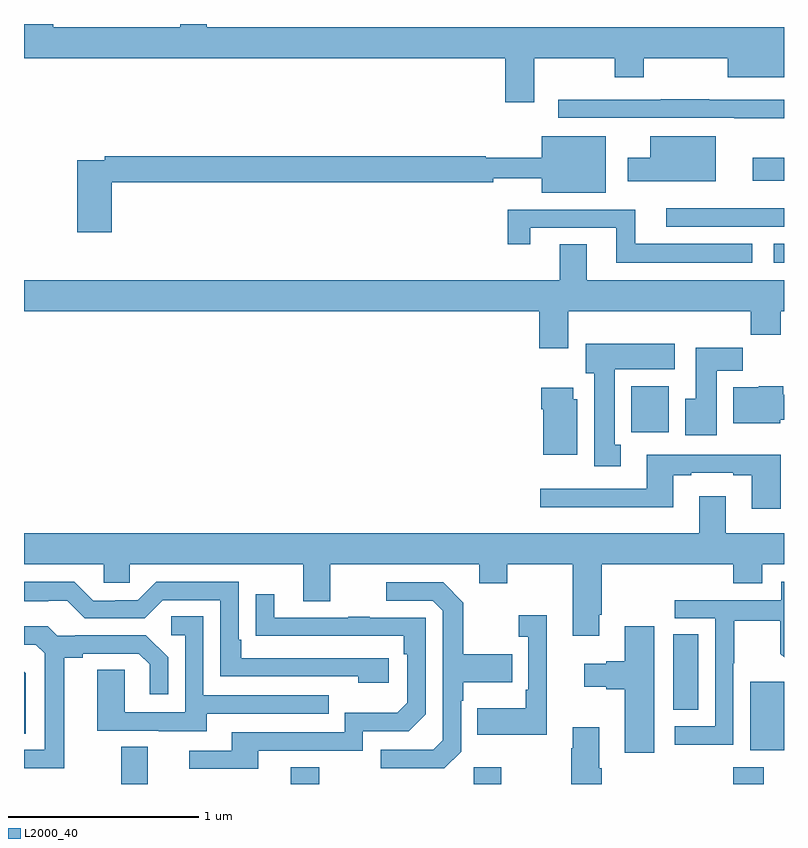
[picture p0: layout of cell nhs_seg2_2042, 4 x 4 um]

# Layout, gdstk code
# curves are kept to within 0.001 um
import gdstk
lib = gdstk.Library(unit=1e-6, precision=1e-09)
def R(c, l, rs):  # rectangles x0, y0, x1, y1
    for r in rs: c.add(gdstk.rectangle(r[:2], r[2:], *l))
def P(c, l, *ps):  # polygons
    for p in ps: c.add(gdstk.Polygon(p, *l))
L2000_40 = (2000, 40)

nhs_seg2_2042 = lib.new_cell('nhs_seg2_2042')
R(nhs_seg2_2042, L2000_40, [(217.511,659.8,217.651,659.996), (218.405,659.8,218.553,659.887), (219.366,659.8,219.513,659.887), (220.733,659.8,220.893,659.887), (220.823,659.978,221,660.339), (220.418,660.19,220.549,660.587), (220.196,661.652,220.393,661.894), (220.947,662.543,221,662.644), (220.38,662.733,221,662.83), (220.836,662.975,221,663.097)])
P(nhs_seg2_2042, L2000_40, [(219.685,663.62),(220.108,663.62),(220.108,663.521),(220.263,663.521),(220.263,663.62),(220.703,663.62),(220.703,663.521),(221,663.521),(221,663.784),(217.963,663.784),(217.963,663.8),(217.823,663.8),(217.823,663.784),(217.154,663.784),(217.154,663.8),(217.001,663.8),(217.001,663.784),(217,663.784),(217,663.62),(219.533,663.62),(219.533,663.387),(219.685,663.387)],
  [(221,663.402),(220.607,663.402),(220.607,663.404),(220.351,663.404),(220.351,663.402),(219.813,663.402),(219.813,663.306),(220.738,663.306),(220.738,663.305),(221,663.305)],
  [(217.463,662.968),(219.47,662.968),(219.47,662.987),(219.725,662.987),(219.725,662.912),(220.063,662.912),(220.063,663.208),(219.725,663.208),(219.725,663.097),(219.429,663.097),(219.429,663.104),(217.426,663.104),(217.426,663.084),(217.28,663.084),(217.28,662.703),(217.463,662.703)],
  [(220.642,663.208),(220.295,663.208),(220.295,663.097),(220.178,663.097),(220.178,662.972),(220.642,662.972)],
  [(220.834,662.644),(220.216,662.644),(220.216,662.823),(219.547,662.823),(219.547,662.64),(219.664,662.64),(219.664,662.727),(220.118,662.727),(220.118,662.543),(220.834,662.543)],
  [(219.865,662.288),(220.825,662.288),(220.825,662.164),(220.982,662.164),(220.982,662.288),(221,662.288),(221,662.452),(219.961,662.452),(219.961,662.642),(219.821,662.642),(219.821,662.452),(217,662.452),(217,662.288),(219.713,662.288),(219.713,662.094),(219.865,662.094)],
  [(220.141,661.586),(220.108,661.586),(220.108,661.982),(220.426,661.982),(220.426,662.116),(219.956,662.116),(219.956,661.962),(220.001,661.962),(220.001,661.473),(220.141,661.473)],
  [(220.645,661.976),(220.784,661.976),(220.784,662.095),(220.535,662.095),(220.535,661.828),(220.481,661.828),(220.481,661.635),(220.645,661.635)],
  [(220.98,661.718),(221,661.718),(221,661.848),(220.997,661.848),(220.997,661.894),(220.866,661.894),(220.866,661.888),(220.733,661.888),(220.733,661.7),(220.98,661.7)],
  [(219.913,661.824),(219.892,661.824),(219.892,661.885),(219.722,661.885),(219.722,661.772),(219.734,661.772),(219.734,661.532),(219.913,661.532)],
  [(220.982,661.534),(220.741,661.534),(220.741,661.533),(220.277,661.533),(220.277,661.353),(219.717,661.353),(219.717,661.256),(220.417,661.256),(220.417,661.425),(220.513,661.425),(220.513,661.437),(220.733,661.437),(220.733,661.425),(220.829,661.425),(220.829,661.248),(220.982,661.248)],
  [(220.027,660.691),(220.04,660.691),(220.04,660.956),(220.733,660.956),(220.733,660.857),(220.885,660.857),(220.885,660.956),(221,660.956),(221,661.12),(220.693,661.12),(220.693,661.315),(220.553,661.315),(220.553,661.12),(217,661.12),(217,660.956),(217.419,660.956),(217.419,660.858),(217.557,660.858),(217.557,660.956),(218.471,660.956),(218.471,660.762),(218.611,660.762),(218.611,660.956),(219.395,660.956),(219.395,660.857),(219.543,660.857),(219.543,660.956),(219.887,660.956),(219.887,660.579),(220.027,660.579)],
  [(218.92,660.462),(218.143,660.462),(218.143,660.559),(218.13,660.559),(218.13,660.864),(217.695,660.864),(217.599,660.768),(217.481,660.768),(217.481,660.765),(217.365,660.765),(217.265,660.865),(217,660.865),(217,660.761),(217.127,660.761),(217.127,660.765),(217.227,660.765),(217.32,660.672),(217.635,660.672),(217.731,660.768),(218.034,660.768),(218.034,660.366),(218.759,660.366),(218.759,660.332),(218.92,660.332)],
  [(220.734,660.436),(220.737,660.436),(220.737,660.66),(220.981,660.66),(220.981,660.485),(221,660.466),(221,660.865),(220.986,660.865),(220.986,660.768),(220.425,660.768),(220.425,660.672),(220.638,660.672),(220.638,660.105),(220.425,660.105),(220.425,660.007),(220.734,660.007)],
  [(219.3,659.97),(219.3,660.239),(219.313,660.239),(219.313,660.335),(219.569,660.335),(219.569,660.483),(219.313,660.483),(219.313,660.755),(219.207,660.861),(218.907,660.861),(218.907,660.765),(219.15,660.765),(219.204,660.711),(219.204,660.03),(219.153,659.979),(218.877,659.979),(218.877,659.883),(219.213,659.883)],
  [(218.233,659.976),(218.784,659.976),(218.784,660.078),(219.024,660.078),(219.114,660.168),(219.114,660.675),(218.819,660.675),(218.819,660.68),(218.707,660.68),(218.707,660.675),(218.317,660.675),(218.317,660.799),(218.221,660.799),(218.221,660.58),(218.998,660.579),(218.998,660.482),(219.018,660.482),(219.018,660.228),(218.965,660.175),(218.688,660.175),(218.688,660.072),(218.093,660.072),(218.093,659.976),(217.869,659.976),(217.869,659.88),(218.233,659.88)],
  [(219.752,660.688),(219.603,660.688),(219.603,660.575),(219.654,660.575),(219.654,660.295),(219.642,660.295),(219.642,660.199),(219.385,660.199),(219.385,660.059),(219.752,660.059)],
  [(217.963,660.171),(218.603,660.171),(218.603,660.267),(217.944,660.267),(217.944,660.683),(217.776,660.683),(217.776,660.582),(217.848,660.582),(217.848,660.177),(217.53,660.177),(217.53,660.401),(217.385,660.401),(217.385,660.081),(217.709,660.081),(217.709,660.077),(217.963,660.077)],
  [(220.318,660.631),(220.163,660.631),(220.163,660.446),(220.064,660.446),(220.064,660.433),(219.948,660.433),(219.948,660.311),(220.064,660.311),(220.064,660.299),(220.163,660.299),(220.163,659.964),(220.318,659.964)],
  [(217.213,660.464),(217.309,660.464),(217.309,660.486),(217.604,660.486),(217.661,660.429),(217.661,660.273),(217.758,660.273),(217.758,660.466),(217.642,660.582),(217.27,660.582),(217.27,660.579),(217.176,660.579),(217.124,660.631),(217,660.631),(217,660.534),(217.062,660.534),(217.109,660.487),(217.109,659.979),(217,659.979),(217,659.883),(217.213,659.883)],
  [(217.008,660.382),(217,660.39),(217,660.064),(217.008,660.064)],
  [(220.04,659.884),(220.027,659.884),(220.027,660.1),(219.887,660.1),(219.887,659.987),(219.88,659.987),(219.88,659.8),(220.04,659.8)])

lib.write_gds('nhs_seg2_2042.gds')
